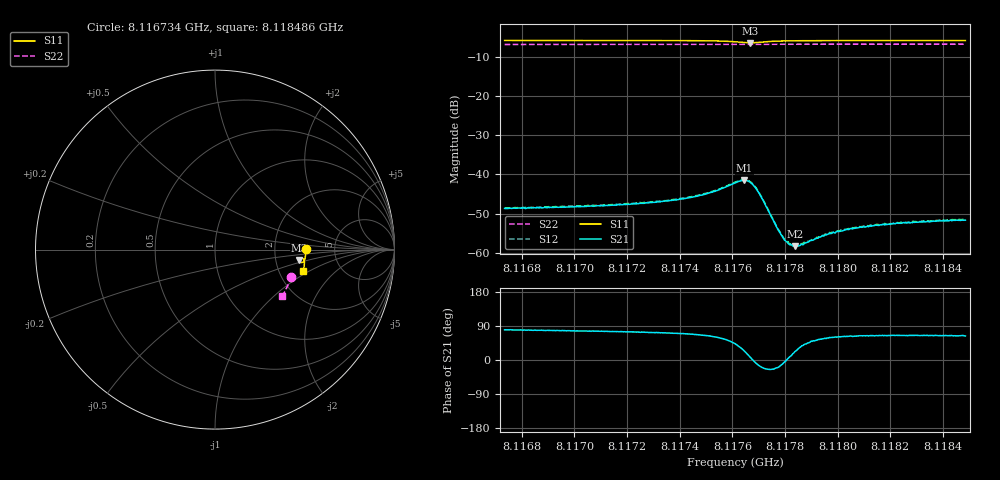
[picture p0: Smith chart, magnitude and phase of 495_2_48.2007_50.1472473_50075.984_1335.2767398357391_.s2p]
#  HZ  S  RI  R  50.00
! Rohde & Schwarz Vector Network Analyzer
! Rohde-Schwarz,ZNB20-2Port,1311601062101988,3.16
! Created: UTC 3/20/2024, 11:58:13 AM
! freq[Hz]  re:S11  im:S11  re:S21  im:S21  re:S12  im:S12  re:S22  im:S22
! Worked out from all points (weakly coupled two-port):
!   401 points, 8.116734 GHz to 8.118486 GHz, reference 50 ohm
!   highest |S21| = -41.50 dB at 8.117645 GHz (marker M1); lowest = -58.3 dB at 8.117838 GHz (marker M2)
!   lowest |S11| = -6.5 dB at 8.117667 GHz (marker M3), VSWR 2.79, Z = 136 - j20.5 ohm
!   |S11| at or under -10 dB: nowhere
!   |S22| runs from -6.9 to -6.8 dB; largest |S21 - S12| = 0.0002
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8.1167344e9  0.5068 0.00436  0.000665 0.00362  0.000736 0.00367  0.4246 -0.1508
8.1170277e9  0.506 -0.0186  0.000906 0.00379  0.000966 0.00384  0.418 -0.1701
8.1173211e9  0.5034 -0.0426  0.00136 0.00425  0.00143 0.00434  0.4106 -0.1893
8.1174218e9  0.5014 -0.052  0.00176 0.00463  0.00186 0.0047  0.4079 -0.1959
8.1174918e9  0.4987 -0.0596  0.00233 0.00504  0.00245 0.00511  0.4059 -0.2004
8.1175488e9  0.4943 -0.0663  0.00329 0.00544  0.00338 0.00553  0.404 -0.2041
8.1176101e9  0.4826 -0.072  0.00569 0.00535  0.00587 0.0054  0.4017 -0.2079
8.1176451e9  0.4719 -0.0671  0.00768 0.00342  0.00784 0.00347  0.4002 -0.2097
8.117667e9  0.469 -0.0584  0.00788 0.00113  0.00806 0.00108  0.3996 -0.2104
8.1176845e9  0.4721 -0.0511  0.00696 -0.000584  0.00713 -0.000618  0.3993 -0.2114
8.117702e9  0.4779 -0.0474  0.00553 -0.00151  0.00561 -0.00152  0.3992 -0.2123
8.1177677e9  0.4939 -0.053  0.00202 -0.000756  0.00203 -0.000818  0.3979 -0.2165
8.117794e9  0.4963 -0.0569  0.00151 -0.000214  0.00154 -0.000229  0.397 -0.2184
8.1178202e9  0.4976 -0.0608  0.00124 0.000212  0.00129 0.000207  0.3963 -0.2201
8.1178377e9  0.4982 -0.063  0.00113 0.000461  0.00119 0.000464  0.3958 -0.2212
8.1178509e9  0.4984 -0.0647  0.00107 0.00062  0.00107 0.000598  0.3953 -0.2222
8.1179034e9  0.4988 -0.0707  0.000945 0.0011  0.000985 0.00111  0.3937 -0.2255
8.1179603e9  0.4987 -0.0764  0.000908 0.00146  0.000937 0.00149  0.3918 -0.2291
8.1180216e9  0.4981 -0.0821  0.000906 0.0017  0.00092 0.00174  0.3899 -0.2328
8.1181968e9  0.4958 -0.0967  0.000987 0.00209  0.00102 0.00211  0.3838 -0.2437
8.1182887e9  0.4944 -0.1039  0.00106 0.00222  0.00106 0.0023  0.3806 -0.2493
8.1184858e9  0.491 -0.1188  0.00117 0.00234  0.00117 0.00238  0.3733 -0.2611
